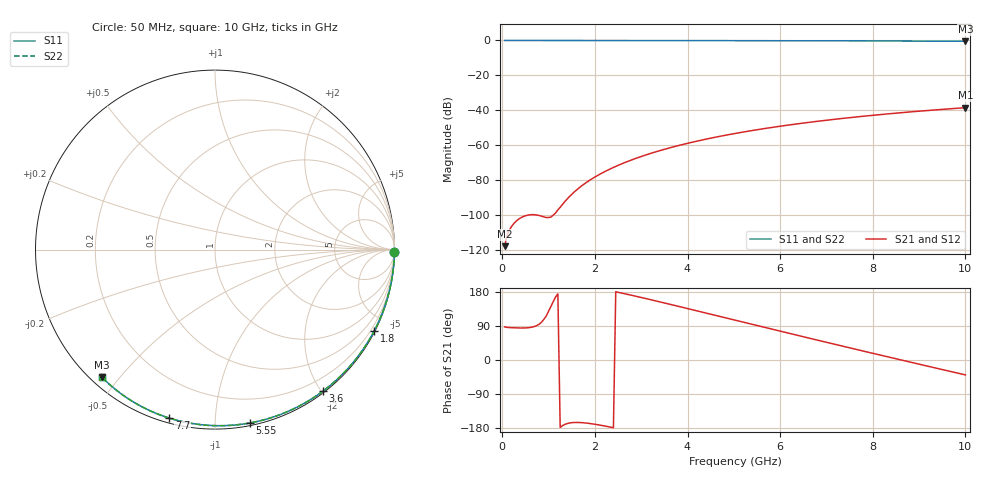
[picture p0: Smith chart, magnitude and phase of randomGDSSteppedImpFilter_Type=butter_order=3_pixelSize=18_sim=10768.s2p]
! freq	dB(S11)	phase(S11)	dB(S12)	phase(S12)
!  dB(S21)	phase(S21)	dB(S22)	phase(S22)
!S-par simulation data
#  GHz  S  DB  R 50
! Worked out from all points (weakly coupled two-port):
!   200 points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, 50 MHz to 10 GHz, reference 50 ohm
!   highest |S21| = -38.44 dB at 10 GHz (marker M1); lowest = -117.6 dB at 50 MHz (marker M2)
!   lowest |S11| = -0.4 dB at 10 GHz (marker M3), VSWR 39.08, Z = 1.54 - j22.5 ohm
!   |S11| at or under -10 dB: nowhere
!   |S22| runs from -0.4 to 0.0 dB; largest |S21 - S12| = 0
!   S11 on the Smith chart (normalised r, x): 50 MHz: open; 1.8 GHz: 0.04, -4.17; 3.6 GHz: 0.02, -2.02; 5.55 GHz: 0.02, -1.22; 7.7 GHz: 0.02, -0.77; 10 GHz: 0.03, -0.45
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0.05  -0.00 -0.8  -117.63 87.3  -117.63 87.3  -0.00 -0.8
0.9  -0.02 -13.6  -100.94 107.7  -100.94 107.7  -0.02 -13.6
1.75  -0.03 -26.2  -82.42 -165.6  -82.42 -165.6  -0.03 -26.2
1.8  -0.03 -27.0  -81.48 -166.2  -81.48 -166.2  -0.03 -27.0
1.85  -0.04 -27.7  -80.58 -166.9  -80.58 -166.9  -0.04 -27.7
1.9  -0.04 -28.4  -79.71 -167.7  -79.71 -167.7  -0.04 -28.4
2.05  -0.04 -30.6  -77.31 -170.6  -77.31 -170.6  -0.04 -30.6
2.25  -0.04 -33.5  -74.49 -175.1  -74.49 -175.1  -0.04 -33.5
2.45  -0.05 -36.4  -72.00 180.0  -72.00 180.0  -0.05 -36.4
2.65  -0.05 -39.3  -69.77 174.7  -69.77 174.7  -0.05 -39.3
3  -0.06 -44.3  -66.35 165.0  -66.35 165.0  -0.06 -44.3
3.4  -0.07 -49.9  -63.00 153.5  -63.00 153.5  -0.07 -49.9
3.6  -0.07 -52.7  -61.51 147.6  -61.51 147.6  -0.07 -52.7
4.3  -0.09 -62.3  -56.99 126.9  -56.99 126.9  -0.09 -62.3
5.05  -0.11 -72.3  -53.07 104.5  -53.07 104.5  -0.11 -72.3
5.55  -0.13 -78.7  -50.84 89.5  -50.84 89.5  -0.13 -78.7
6.1  -0.15 -85.7  -48.66 73.2  -48.66 73.2  -0.15 -85.7
6.7  -0.18 -93.1  -46.57 55.5  -46.57 55.5  -0.18 -93.1
7.7  -0.24 -105.2  -43.59 26.3  -43.59 26.3  -0.24 -105.1
8.35  -0.29 -112.8  -41.92 7.6  -41.92 7.6  -0.29 -112.8
9.15  -0.36 -121.9  -40.12 -15.3  -40.12 -15.3  -0.36 -121.9
10  -0.44 -131.6  -38.44 -39.4  -38.44 -39.4  -0.44 -131.6
